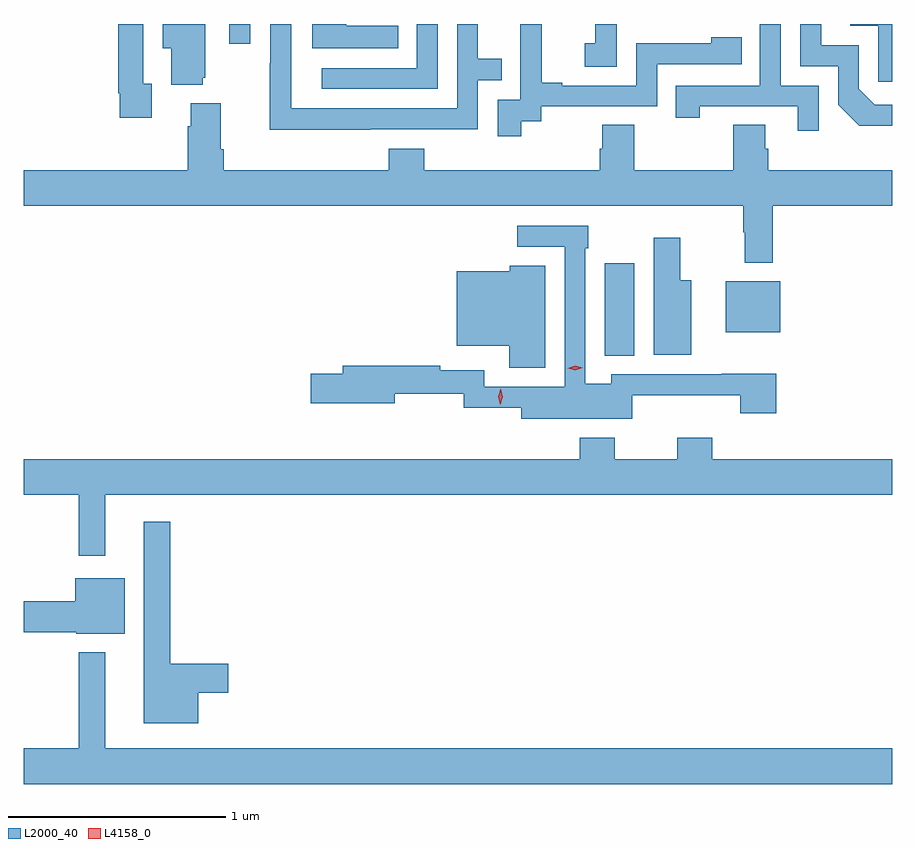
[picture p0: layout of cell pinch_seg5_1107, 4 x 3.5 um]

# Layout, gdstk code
import gdstk
lib = gdstk.Library(unit=1e-6, precision=1e-09)
def R(c, l, rs):  # rectangles x0, y0, x1, y1
    for r in rs: c.add(gdstk.rectangle(r[:2], r[2:], *l))
def P(c, l, *ps):  # polygons
    for p in ps: c.add(gdstk.Polygon(p, *l))
L2000_40 = (2000, 40)
L4158_0 = (4158, 0)

pinch_seg5_1107 = lib.new_cell('pinch_seg5_1107')
R(pinch_seg5_1107, L2000_40, [(782.297,852.073,782.434,852.499), (782.855,852.182,783.106,852.415), (780.567,853.509,780.663,853.601)])
P(pinch_seg5_1107, L2000_40, [(781.346,853.594),(781.107,853.594),(781.107,853.601),(780.95,853.601),(780.95,853.49),(781.346,853.49)],
  [(780.446,853.353),(780.457,853.353),(780.457,853.601),(780.26,853.601),(780.26,853.49),(780.299,853.49),(780.299,853.322),(780.446,853.322)],
  [(780.211,853.326),(780.171,853.326),(780.171,853.601),(780.055,853.601),(780.055,853.282),(780.063,853.282),(780.063,853.17),(780.211,853.17)],
  [(781.912,853.153),(782.004,853.153),(782.004,853.221),(782.538,853.221),(782.538,853.416),(782.927,853.416),(782.927,853.539),(782.787,853.539),(782.787,853.512),(782.442,853.512),(782.442,853.317),(782.101,853.317),(782.101,853.33),(782.006,853.33),(782.006,853.601),(781.907,853.601),(781.907,853.481),(781.908,853.481),(781.908,853.251),(781.803,853.251),(781.803,853.083),(781.912,853.083)],
  [(781.217,853.116),(781.713,853.116),(781.713,853.341),(781.823,853.341),(781.823,853.442),(781.713,853.442),(781.713,853.601),(781.617,853.601),(781.617,853.212),(780.853,853.212),(780.853,853.466),(780.852,853.466),(780.852,853.601),(780.756,853.601),(780.756,853.421),(780.754,853.421),(780.754,853.115),(781.217,853.115)],
  [(783.621,853.601),(783.429,853.601),(783.429,853.593),(783.558,853.593),(783.558,853.335),(783.621,853.335)],
  [(783.621,853.23),(783.54,853.23),(783.468,853.302),(783.468,853.503),(783.295,853.503),(783.295,853.601),(783.198,853.601),(783.198,853.407),(783.372,853.407),(783.372,853.23),(783.47,853.133),(783.621,853.133)],
  [(781.527,853.601),(781.431,853.601),(781.431,853.398),(780.993,853.398),(780.993,853.302),(781.527,853.302)],
  [(782.352,853.601),(782.254,853.601),(782.254,853.513),(782.205,853.513),(782.205,853.404),(782.352,853.404)],
  [(783.282,853.317),(783.108,853.317),(783.108,853.601),(783.012,853.601),(783.012,853.317),(782.623,853.317),(782.623,853.17),(782.734,853.17),(782.734,853.221),(783.185,853.221),(783.185,853.11),(783.282,853.11)],
  [(783.071,852.764),(783.621,852.764),(783.621,852.928),(783.05,852.928),(783.05,853.026),(783.037,853.026),(783.037,853.136),(782.89,853.136),(782.89,852.928),(782.433,852.928),(782.433,853.136),(782.285,853.136),(782.285,853.026),(782.273,853.026),(782.273,852.928),(781.466,852.928),(781.466,853.027),(781.301,853.027),(781.301,852.928),(780.542,852.928),(780.542,853.024),(780.529,853.024),(780.529,853.237),(780.389,853.237),(780.389,853.13),(780.377,853.13),(780.377,852.928),(779.621,852.928),(779.621,852.764),(782.935,852.764),(782.935,852.641),(782.943,852.641),(782.943,852.501),(783.071,852.501)],
  [(782.424,851.891),(782.921,851.891),(782.921,851.808),(783.086,851.808),(783.086,851.99),(782.837,851.99),(782.837,851.988),(782.328,851.988),(782.328,851.944),(782.208,851.944),(782.208,852.569),(782.221,852.569),(782.221,852.672),(781.893,852.672),(781.893,852.576),(782.112,852.576),(782.112,851.931),(781.743,851.931),(781.743,852.006),(781.54,852.006),(781.54,852.026),(781.091,852.026),(781.091,851.99),(780.942,851.99),(780.942,851.855),(781.33,851.855),(781.33,851.898),(781.647,851.898),(781.647,851.833),(781.913,851.833),(781.913,851.783),(782.424,851.783)],
  [(782.695,852.421),(782.644,852.421),(782.644,852.616),(782.522,852.616),(782.522,852.077),(782.695,852.077)],
  [(782.023,852.487),(781.86,852.487),(781.86,852.463),(781.616,852.463),(781.616,852.119),(781.856,852.119),(781.856,852.017),(782.023,852.017)],
  [(779.995,851.432),(783.621,851.432),(783.621,851.596),(782.792,851.596),(782.792,851.695),(782.632,851.695),(782.632,851.596),(782.343,851.596),(782.343,851.695),(782.183,851.695),(782.183,851.596),(779.621,851.596),(779.621,851.432),(779.874,851.432),(779.874,851.151),(779.995,851.151)],
  [(780.424,850.52),(780.562,850.52),(780.562,850.655),(780.295,850.655),(780.295,851.308),(780.173,851.308),(780.173,850.379),(780.424,850.379)],
  [(780.085,851.047),(779.858,851.047),(779.858,850.941),(779.621,850.941),(779.621,850.799),(779.862,850.799),(779.862,850.793),(780.085,850.793)],
  [(783.621,850.264),(779.995,850.264),(779.995,850.708),(779.874,850.708),(779.874,850.264),(779.621,850.264),(779.621,850.1),(783.621,850.1)])
P(pinch_seg5_1107, L4158_0, [(782.161,852.006),(782.126,852.015),(782.126,852.015),(782.126,852.015),(782.16,852.026),(782.195,852.017),(782.195,852.017),(782.195,852.017)],
  [(781.816,851.848),(781.816,851.848),(781.807,851.885),(781.818,851.921),(781.818,851.921),(781.819,851.921),(781.827,851.884),(781.816,851.848)])

lib.write_gds('pinch_seg5_1107.gds')
